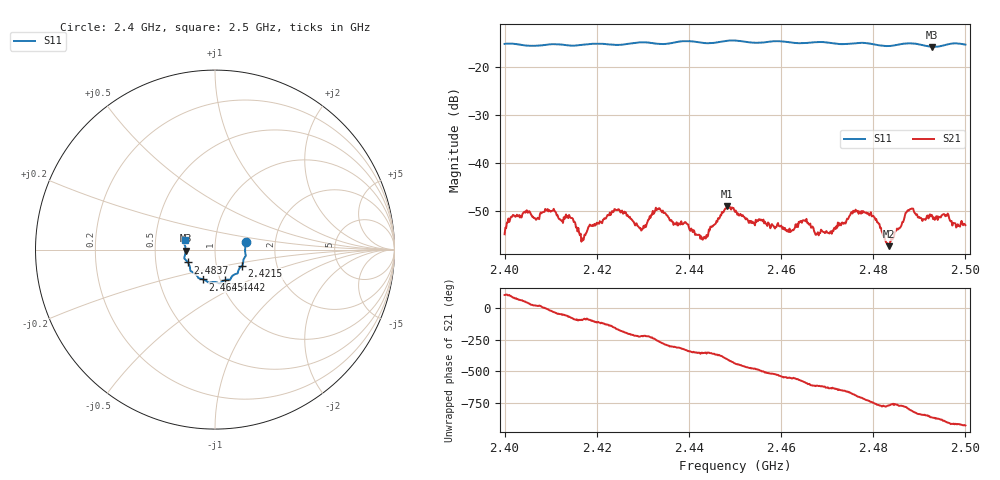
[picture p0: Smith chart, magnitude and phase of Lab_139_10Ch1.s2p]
# Hz S RI R 50
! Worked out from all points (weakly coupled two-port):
!   601 points, 2.4 GHz to 2.5 GHz, reference 50 ohm
!   highest |S21| = -49.08 dB at 2.4483 GHz (marker M1); lowest = -57.4 dB at 2.4835 GHz (marker M2)
!   lowest |S11| = -15.7 dB at 2.4928 GHz (marker M3), VSWR 1.39, Z = 35.9 - j0.376 ohm
!   |S11| at or under -10 dB: start of sweep to end of sweep
!   S12 and S22 are empty: the file has one direction only
!   S11 on the Smith chart (normalised r, x): 2.4 GHz: 1.41, +0.12; 2.4215 GHz: 1.33, -0.25; 2.4442 GHz: 1.05, -0.37; 2.4645 GHz: 0.83, -0.29; 2.4837 GHz: 0.73, -0.11; 2.5 GHz: 0.71, +0.07
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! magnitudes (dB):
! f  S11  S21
! 2.4 GHz  -15.1  -54.9
! 2.4093 GHz  -15.2  -49.6
! 2.4145 GHz  -15.5  -51.5
! 2.4167 GHz  -15.3  -56.5
! 2.4215 GHz  -15.1  -51.8
! 2.4243 GHz  -15.3  -49.8
! 2.4298 GHz  -14.8  -53.9
! 2.4333 GHz  -15.1  -49.7
! 2.4442 GHz  -15.0  -55.1
! 2.4483 GHz  -14.4  -49.1
! 2.45 GHz  -14.4  -50.2
! 2.4615 GHz  -14.7  -54.1
! 2.4645 GHz  -15.0  -52.5
! 2.4667 GHz  -14.8  -53.5
! 2.4705 GHz  -14.9  -54.8
! 2.478 GHz  -14.9  -50.3
! 2.4833 GHz  -15.6  -57.2
! 2.4835 GHz  -15.5  -57.4
! 2.4837 GHz  -15.5  -56.5
! 2.4878 GHz  -15.0  -49.8
! 2.4928 GHz  -15.7  -51.1
! 2.5 GHz  -15.3  -53.0
